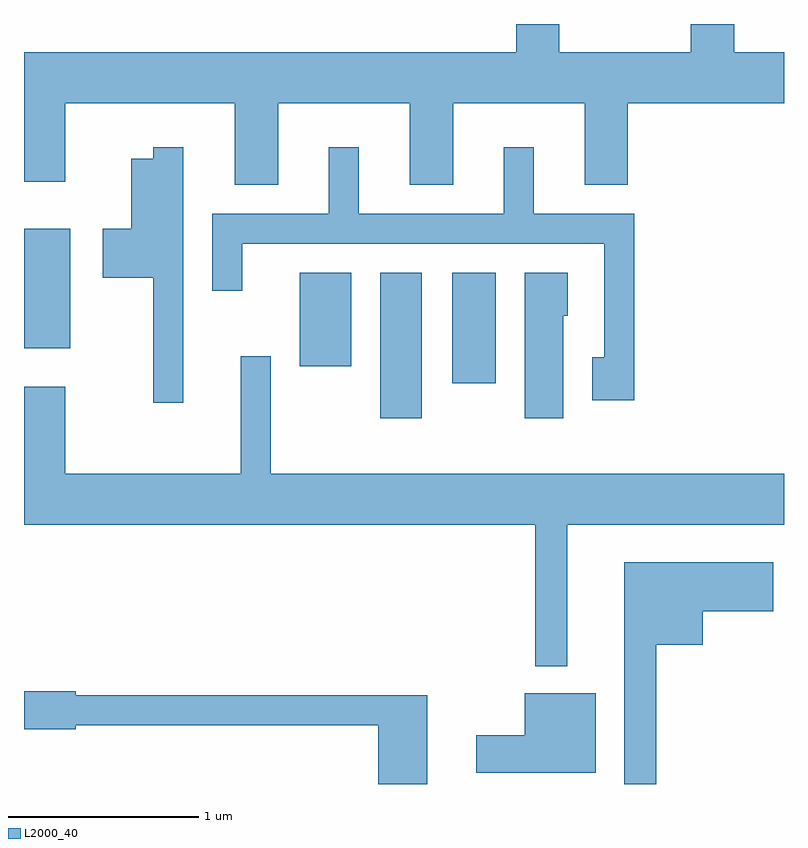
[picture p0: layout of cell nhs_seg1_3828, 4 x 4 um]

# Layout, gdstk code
import gdstk
lib = gdstk.Library(unit=1e-6, precision=1e-09)
def R(c, l, rs):  # rectangles x0, y0, x1, y1
    for r in rs: c.add(gdstk.rectangle(r[:2], r[2:], *l))
def P(c, l, *ps):  # polygons
    for p in ps: c.add(gdstk.Polygon(p, *l))
L2000_40 = (2000, 40)

nhs_seg1_3828 = lib.new_cell('nhs_seg1_3828')
R(nhs_seg1_3828, L2000_40, [(301.486,955.636,301.704,956.404), (301.866,955.821,302.094,956.404), (301.061,955.911,301.334,956.404), (299.611,956.006,299.854,956.634)])
P(nhs_seg1_3828, L2000_40, [(300.949,957.296),(301.641,957.296),(301.641,956.866),(301.869,956.866),(301.869,957.296),(302.561,957.296),(302.561,956.866),(302.789,956.866),(302.789,957.296),(303.611,957.296),(303.611,957.564),(303.349,957.564),(303.349,957.712),(303.121,957.712),(303.121,957.564),(302.429,957.564),(302.429,957.712),(302.201,957.712),(302.201,957.564),(299.611,957.564),(299.611,956.881),(299.829,956.881),(299.829,957.296),(300.721,957.296),(300.721,956.866),(300.949,956.866)],
  [(300.449,957.063),(300.291,957.063),(300.291,957.004),(300.176,957.004),(300.176,956.634),(300.026,956.634),(300.026,956.376),(300.291,956.376),(300.291,955.718),(300.449,955.718)],
  [(302.824,956.714),(302.294,956.714),(302.294,957.063),(302.136,957.063),(302.136,956.714),(301.374,956.714),(301.374,957.063),(301.216,957.063),(301.216,956.714),(300.601,956.714),(300.601,956.308),(300.759,956.308),(300.759,956.556),(302.666,956.556),(302.666,955.959),(302.601,955.959),(302.601,955.731),(302.824,955.731)],
  [(302.449,956.176),(302.474,956.176),(302.474,956.404),(302.246,956.404),(302.246,955.636),(302.449,955.636)],
  [(302.469,955.076),(303.611,955.076),(303.611,955.344),(300.909,955.344),(300.909,955.963),(300.751,955.963),(300.751,955.344),(299.829,955.344),(299.829,955.804),(299.611,955.804),(299.611,955.076),(302.301,955.076),(302.301,954.333),(302.469,954.333)],
  [(302.939,954.446),(303.184,954.446),(303.184,954.621),(303.554,954.621),(303.554,954.879),(302.771,954.879),(302.771,953.712),(302.939,953.712)],
  [(301.734,954.179),(299.884,954.179),(299.884,954.199),(299.611,954.199),(299.611,954.001),(299.884,954.001),(299.884,954.021),(301.476,954.021),(301.476,953.712),(301.734,953.712)],
  [(302.619,954.189),(302.246,954.189),(302.246,953.969),(301.991,953.969),(301.991,953.771),(302.619,953.771)])

lib.write_gds('nhs_seg1_3828.gds')
